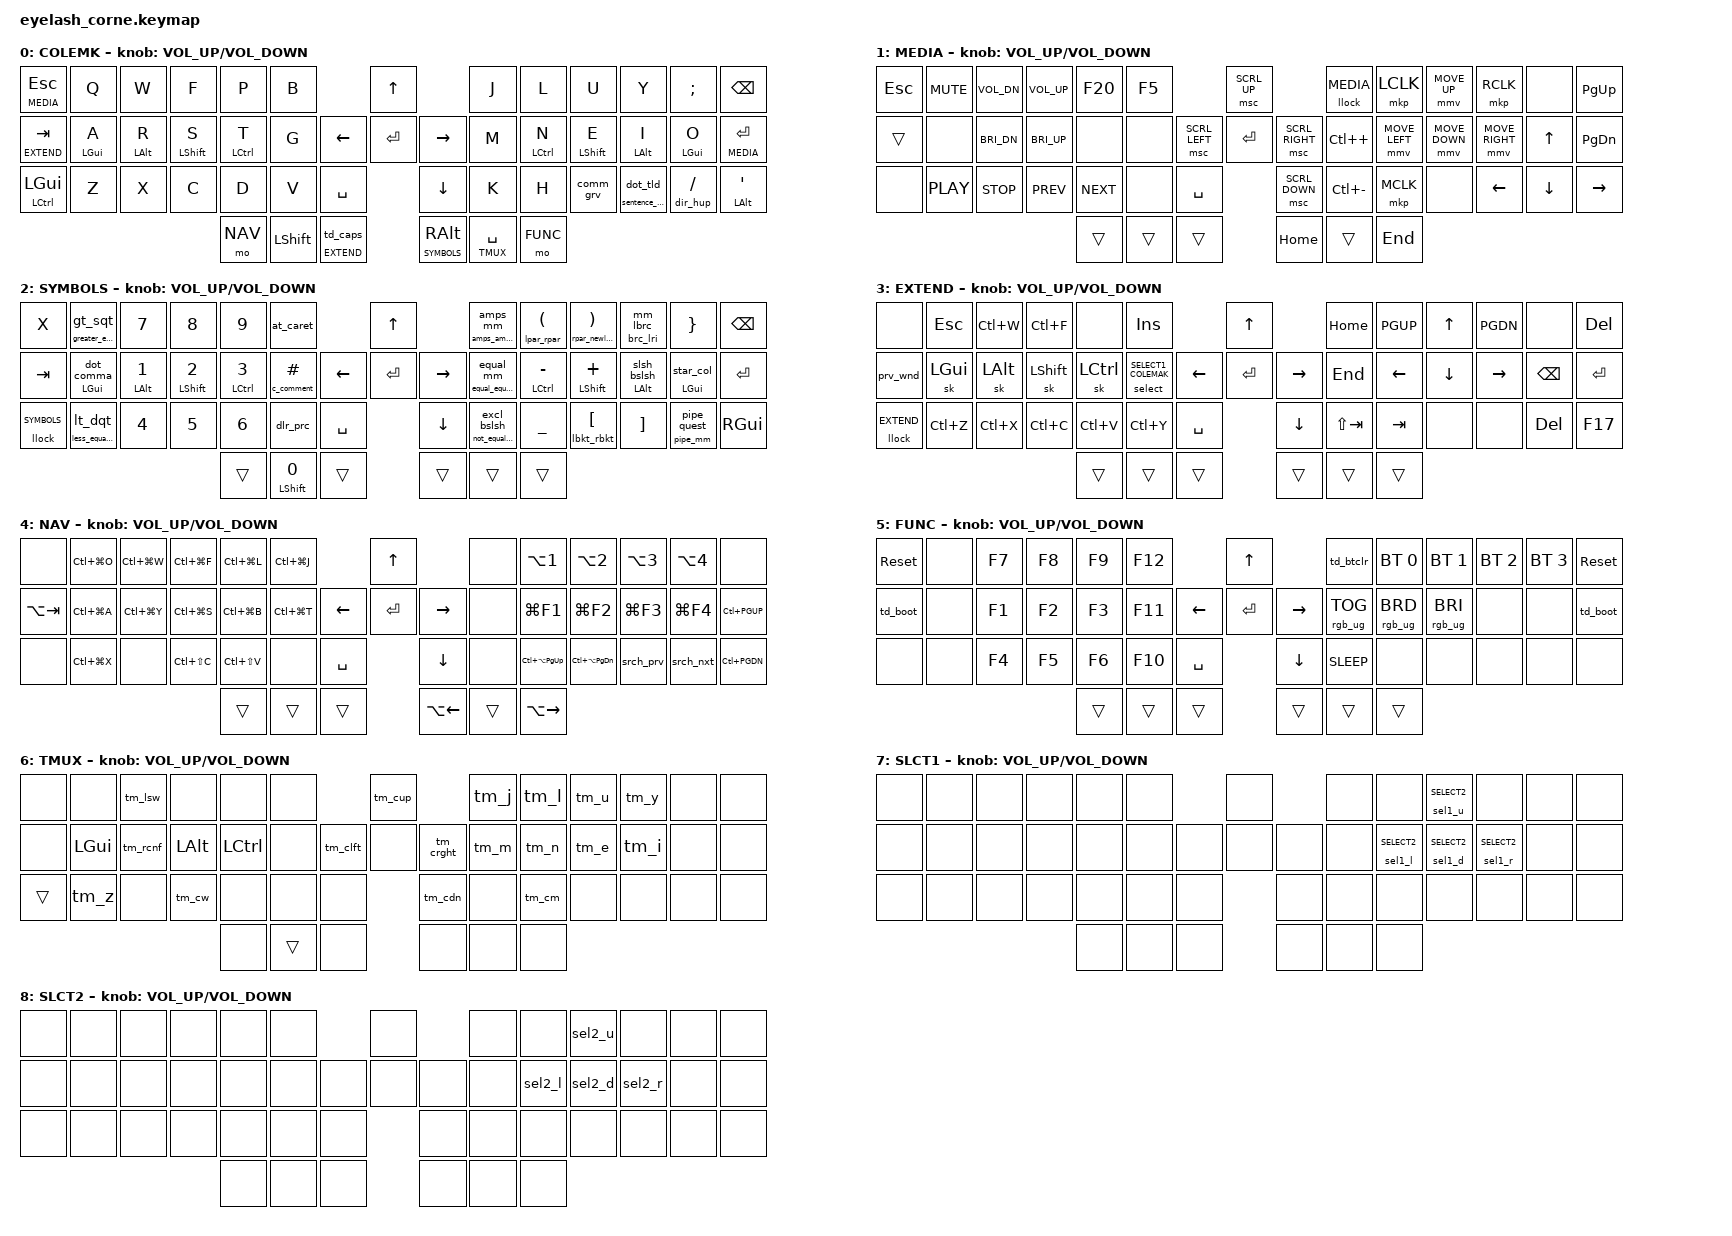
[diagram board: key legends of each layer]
#include <behaviors.dtsi>
#include <dt-bindings/zmk/bt.h>
#include <dt-bindings/zmk/keys.h>
#include <dt-bindings/zmk/mouse.h>
#include <dt-bindings/zmk/outputs.h>
#include <dt-bindings/zmk/rgb.h>

#include <input/processors.dtsi>

/*

   &mmv_input_listener {
       input-processors = <&zip_xy_scaler 2 1>;
   };

   &msc_input_listener {
       input-processors = <&zip_xy_scaler 2 1>;
   };

 */

#undef ZMK_MOUSE_DEFAULT_MOVE_VAL
#undef ZMK_MOUSE_DEFAULT_SCRL_VAL
#define ZMK_MOUSE_DEFAULT_MOVE_VAL 1200  // 600
#define ZMK_MOUSE_DEFAULT_SCRL_VAL 20    // 10

#define COLEMAK 0
#define MEDIA   1
#define SYMBOLS 2
#define EXTEND  3
#define NAV     4
#define FUNC    5
#define TMUX    6
#define SELECT1 7
#define SELECT2 8


#define KEYS_LEFT     0  1  2  3  4  5 13 14 15 16 17 18 28 29 30 31 32 33 // left-hand keys
#define KEYS_RIGHT    7  8  9 10 11 12 22 23 24 25 26 27 36 37 38 39 40 41 // right-hand keys
#define KEYS_THUMBS  42 43 44 45 46 47                                     // thumb keys
#define KEYS_5WAY     6 19 20 21 35                                        // five-way switch
#define KEY_ENCODER  34                                                    // push on rotary encoder

#define U_MS_U &mmv MOVE_UP
#define U_MS_D &mmv MOVE_DOWN
#define U_MS_L &mmv MOVE_LEFT
#define U_MS_R &mmv MOVE_RIGHT
#define U_WH_U &msc SCRL_UP
#define U_WH_D &msc SCRL_DOWN
#define U_WH_L &msc SCRL_LEFT
#define U_WH_R &msc SCRL_RIGHT

#define SELECT &select SELECT1 COLEMAK
#define SEL1_U &sel1_u SELECT2
#define SEL1_D &sel1_d SELECT2
#define SEL1_L &sel1_l SELECT2
#define SEL1_R &sel1_r SELECT2

#define EXT_CAPS &mo_caps EXTEND 0
#define SYMB_ALTGR &mo_sk SYMBOLS RALT
#define SLASH_DIRS &ht_dirs 0 SLASH
#define DOT_MACROS &ht_sentence 0 0
#define MEDIA_ESC &lt MEDIA ESC
#define MEDIA_ENT &lt MEDIA ENTER
#define EXT_TAB &lt EXTEND TAB
#define TMUX_SPC &lt TMUX SPC
#define LCTRL_LGUI &mt LCTRL LGUI
#define TAB_L &kp LC(LA(PG_UP))
#define TAB_R &kp LC(LA(PG_DN))

/* Application shortcuts */
#define APP_FFOX &kp LC(LG(W))
#define APP_FILE &kp LC(LG(F))
#define APP_CODE &kp LC(LG(L))
#define APP_JOPL &kp LC(LG(J))
#define APP_SIGN &kp LC(LG(A))
#define APP_SKYP &kp LC(LG(Y))
#define APP_SLAC &kp LC(LG(S))
#define APP_BTRM &kp LC(LG(B))
#define APP_NTRM &kp LC(LG(T))
#define APP_SCRP &kp LC(LG(X))
#define APP_TRSM &kp LC(LG(O))

/* Awkward layer lock */
/* Lock: press lock key, release mo layer, release lock */
/* Unlock: tap lock key */
#define LOCK_SYM &llock SYMBOLS
#define LOCK_EXT &llock EXTEND
#define LOCK_MED &llock MEDIA

//#include "private_macros.dtsi"

/ {
    macros {
        // Single Alt-tab to swap to the previous window instead of cycling through
        prv_wnd: previous_window {
            compatible = "zmk,behavior-macro";
            #binding-cells = <0>;
            bindings = 
                <&macro_press &kp LALT>,
                <&macro_tap &kp TAB>,
                <&macro_release &kp LALT>;
        };
        // Layer lock, sort-of
        llock: layer_lock {
            compatible = "zmk,behavior-macro-one-param";
            #binding-cells = <1>;
            wait-ms = <40>;
            tap-ms = <40>;
            bindings =
                <&macro_pause_for_release>,
                <&macro_param_1to1>,
                <&macro_tap &tog MACRO_PLACEHOLDER>;
        };
        macro_qu: macro_qu {
            compatible = "zmk,behavior-macro";
            #binding-cells = <0>;
            bindings
                = <&macro_tap &kp Q>
                , <&macro_release &kp LSHFT>
                , <&macro_tap &kp U>
                ;
        };
        parent_dir: parent_dir {
            compatible = "zmk,behavior-macro";
            #binding-cells = <0>;
            wait-ms = <0>;
            tap-ms = <1>;
            bindings = <&macro_tap &kp DOT &kp DOT &kp SLASH>;
        };
        home_dir: home_dir {
            compatible = "zmk,behavior-macro";
            #binding-cells = <0>;
            wait-ms = <0>;
            tap-ms = <1>;
            bindings = <&macro_tap &kp TILDE &kp SLASH>;
        };
        new_sentence: new_sentence {
            compatible = "zmk,behavior-macro";
            #binding-cells = <0>;
            bindings
                = <&macro_tap &kp DOT &kp SPACE>
                , <&sk LSHFT>
                ;
        };
        workspace: workspace {
            compatible = "zmk,behavior-macro";
            #binding-cells = <0>;
            wait-ms = <0>;
            tap-ms = <1>;
            bindings
                = <&macro_tap &kp TILDE &kp SLASH>
                , <&macro_tap &kp W &kp O &kp R &kp K &kp S &kp P &kp A &kp C &kp E>
                , <&macro_tap &kp SLASH>
                ;
        };
        vimcmd: vimcmd {
            compatible = "zmk,behavior-macro";
            #binding-cells = <0>;
            bindings = <&macro_tap &kp ESC &kp COLON>;
        };
        // Symbols macros
        c_comment: c_comment {
            compatible = "zmk,behavior-macro";
            #binding-cells = <0>;
            wait-ms = <0>;
            tap-ms = <1>;
            bindings
                = <&macro_tap &kp SLASH &kp STAR &kp SPACE &kp SPACE &kp STAR &kp SLASH>
                , <&macro_tap &kp LEFT &kp LEFT &kp LEFT>
                ;
        };
        greater_equal: greater_equal {
            compatible = "zmk,behavior-macro";
            #binding-cells = <0>;
            bindings = <&macro_tap &kp GT &kp EQUAL>;
        };
        greater_equal_spaces: greater_equal_spaces {
            compatible = "zmk,behavior-macro";
            #binding-cells = <0>;
            bindings = <&macro_tap  &kp SPC &kp GT &kp EQUAL &kp SPC>;
        };
        less_equal: less_equal {
            compatible = "zmk,behavior-macro";
            #binding-cells = <0>;
            bindings = <&macro_tap &kp LT &kp EQUAL>;
        };
        less_equal_spaces: less_equal_spaces {
            compatible = "zmk,behavior-macro";
            #binding-cells = <0>;
            bindings = <&macro_tap &kp SPC &kp LT &kp EQUAL &kp SPC>;
        };
        not_equal: not_equal {
            compatible = "zmk,behavior-macro";
            #binding-cells = <0>;
            bindings = <&macro_tap &kp EXCL &kp EQUAL>;
        };
        not_equal_spaces: not_equal_spaces {
            compatible = "zmk,behavior-macro";
            #binding-cells = <0>;
            bindings = <&macro_tap &kp SPC &kp EXCL &kp EQUAL &kp SPC>;
        };
        equal_spaces: equal_spaces {
            compatible = "zmk,behavior-macro";
            #binding-cells = <0>;
            bindings = 
                <&macro_release &kp LSHFT>,
                <&macro_tap &kp SPC &kp EQUAL &kp SPC>;
        };
        equal_equal: equal_equal {
            compatible = "zmk,behavior-macro";
            #binding-cells = <0>;
            bindings = <&macro_tap &kp EQUAL &kp EQUAL>;
        };
        equal_equal_spaces: equal_equal_spaces {
            compatible = "zmk,behavior-macro";
            #binding-cells = <0>;
            bindings = <&macro_tap &kp SPC &kp EQUAL &kp EQUAL &kp SPC>;
        };
        amps_spaces: amps_spaces {
            compatible = "zmk,behavior-macro";
            #binding-cells = <0>;
            bindings = <&macro_tap &kp SPC &kp AMPS &kp SPC>;
        };
        amps_amps: amps_amps {
            compatible = "zmk,behavior-macro";
            #binding-cells = <0>;
            bindings = <&macro_tap &kp AMPS &kp AMPS>;
        };
        amps_amps_spaces: amps_amps_spaces {
            compatible = "zmk,behavior-macro";
            #binding-cells = <0>;
            bindings = <&macro_tap &kp SPC &kp AMPS &kp AMPS &kp SPC>;
        };
        lpar_rpar: lpar_rpar {
            compatible = "zmk,behavior-macro";
            #binding-cells = <0>;
            bindings = <&macro_tap &kp LPAR &kp RPAR &kp LEFT>;
        };
        rpar_newline: rpar_newline {
            compatible = "zmk,behavior-macro";
            #binding-cells = <0>;
            bindings = <&macro_tap &kp RPAR &kp SEMI &kp ENTER>;
        };
        brc_lri: braces_left_right_inside {
            compatible = "zmk,behavior-macro";
            #binding-cells = <0>;
            bindings = <&macro_tap &kp LBRC &kp RBRC &kp LEFT>;
        };
        brc_lr: braces_left_right {
            compatible = "zmk,behavior-macro";
            #binding-cells = <0>;
            bindings = <&macro_tap &kp LBRC &kp RBRC>;
        };
        lbkt_rbkt: lbkt_rbkt {
            compatible = "zmk,behavior-macro";
            #binding-cells = <0>;
            bindings = <&macro_tap &kp LBKT &kp RBKT &kp LEFT>;
        };
        pipe_pipe: pipe_pipe {
            compatible = "zmk,behavior-macro";
            #binding-cells = <0>;
            bindings = <&macro_tap &kp PIPE &kp PIPE>;
        };
        pipe_pipe_spaces: pipe_pipe_spaces {
            compatible = "zmk,behavior-macro";
            #binding-cells = <0>;
            bindings = <&macro_tap &kp SPC &kp PIPE &kp PIPE &kp SPC>;
        };
        // Help macros
        help_main: help_main {
            compatible = "zmk,behavior-macro";
            #binding-cells = <0>;
            bindings
                = <&macro_tap &kp INTERNATIONAL_1>
                , <&macro_pause_for_release>
                , <&macro_tap &kp LANGUAGE_9>
                ;
        };
        help_altgr: help_altgr {
            compatible = "zmk,behavior-macro";
            #binding-cells = <0>;
            bindings
                = <&macro_tap &kp LA(INTERNATIONAL_1)>
                , <&macro_pause_for_release>
                , <&macro_tap &kp LANGUAGE_9>
                ;
        };
        help_extend: help_extend {
            compatible = "zmk,behavior-macro";
            #binding-cells = <0>;
            bindings
                = <&macro_tap &kp INTERNATIONAL_2>
                , <&macro_pause_for_release>
                , <&macro_tap &kp LANGUAGE_9>
                ;
        };
        help_nav: help_nav {
            compatible = "zmk,behavior-macro";
            #binding-cells = <0>;
            bindings
                = <&macro_tap &kp INTERNATIONAL_3>
                , <&macro_pause_for_release>
                , <&macro_tap &kp LANGUAGE_9>
                ;
        };
        help_symbols: help_symbols {
            compatible = "zmk,behavior-macro";
            #binding-cells = <0>;
            bindings
                = <&macro_tap &kp INTERNATIONAL_5>
                , <&macro_pause_for_release>
                , <&macro_tap &kp LANGUAGE_9>
                ;
        };
        help_func: help_func {
            compatible = "zmk,behavior-macro";
            #binding-cells = <0>;
            bindings
                = <&macro_tap &kp INTERNATIONAL_4>
                , <&macro_pause_for_release>
                , <&macro_tap &kp LANGUAGE_9>
                ;
        };
        help_media: help_media {
            compatible = "zmk,behavior-macro";
            #binding-cells = <0>;
            bindings
                = <&macro_tap &kp LANGUAGE_1>
                , <&macro_pause_for_release>
                , <&macro_tap &kp LANGUAGE_9>
                ;
        };

        // Select macros
        select: select_mode {
            compatible = "zmk,behavior-macro-two-param";
            #binding-cells = <2>;
            bindings =
                <&macro_param_1to1>,
                <&macro_tap &to MACRO_PLACEHOLDER>,
                <&macro_pause_for_release>,
                <&macro_param_2to1>,
                <&macro_tap &to MACRO_PLACEHOLDER>
                ;
        };
        sel1_r: select1_right {
            compatible = "zmk,behavior-macro-one-param";
            #binding-cells = <1>;
            bindings
                = <&macro_press &kp LCTL>, <&macro_tap &kp RIGHT>, <&macro_tap &kp LEFT>
                , <&macro_press &kp LSFT>, <&macro_tap &kp RIGHT>, <&macro_release &kp LSFT>, <&macro_release &kp LCTL>
                , <&macro_param_1to1>
                , <&macro_tap &to MACRO_PLACEHOLDER>
                ;
        };
        sel1_l: select1_left {
            compatible = "zmk,behavior-macro-one-param";
            #binding-cells = <1>;
            bindings
                = <&macro_press &kp LCTL>, <&macro_tap &kp LEFT>, <&macro_tap &kp RIGHT>
                , <&macro_press &kp LSFT>, <&macro_tap &kp LEFT>, <&macro_release &kp LSFT>, <&macro_release &kp LCTL>
                , <&macro_param_1to1>
                , <&macro_tap &to MACRO_PLACEHOLDER>
                ;
        };
        sel1_u: select1_up {
            compatible = "zmk,behavior-macro-one-param";
            #binding-cells = <1>;
            bindings
                = <&macro_tap &kp END>, <&macro_tap &kp RIGHT>
                , <&macro_press &kp LSFT>, <&macro_tap &kp UP>, <&macro_release &kp LSFT>
                , <&macro_param_1to1>
                , <&macro_tap &to MACRO_PLACEHOLDER>
                ;
        };
        sel1_d: select1_down {
            compatible = "zmk,behavior-macro-one-param";
            #binding-cells = <1>;
            bindings
                = <&macro_tap &kp HOME>, <&macro_tap &kp HOME>
                , <&macro_press &kp LSFT>, <&macro_tap &kp DOWN>, <&macro_release &kp LSFT>
                , <&macro_param_1to1>
                , <&macro_tap &to MACRO_PLACEHOLDER>
                ;
        };
        sel2_r: select2_right {
            compatible = "zmk,behavior-macro";
            #binding-cells = <0>;
            bindings
                = <&macro_press &kp LCTL>, <&macro_press &kp LSFT>, <&macro_tap &kp RIGHT>, <&macro_release &kp LSFT>, <&macro_release &kp LCTL>
                ;
        };
        sel2_l: select2_left {
            compatible = "zmk,behavior-macro";
            #binding-cells = <0>;
            bindings
                = <&macro_press &kp LCTL>, <&macro_press &kp LSFT>, <&macro_tap &kp LEFT>, <&macro_release &kp LSFT>, <&macro_release &kp LCTL>
                ;
        };
        sel2_u: select2_up {
            compatible = "zmk,behavior-macro";
            #binding-cells = <0>;
            bindings
                = <&macro_press &kp LSFT>, <&macro_tap &kp UP>, <&macro_release &kp LSFT>
                ;
        };
        sel2_d: select2_down {
            compatible = "zmk,behavior-macro";
            #binding-cells = <0>;
            bindings
                = <&macro_press &kp LSFT>, <&macro_tap &kp DOWN>, <&macro_release &kp LSFT>
                ;
        };

        // TMUX macros
        tm_n: tmux_n {
            compatible = "zmk,behavior-macro";
            #binding-cells = <0>;
            bindings
                = <&macro_press &kp LCTL>, <&macro_tap &kp A>, <&macro_release &kp LCTL>
                , <&macro_tap &kp N>
                ;
        };
        tm_i: tmux_i {
            compatible = "zmk,behavior-macro";
            #binding-cells = <0>;
            bindings
                = <&macro_press &kp LCTL>, <&macro_tap &kp A>, <&macro_release &kp LCTL>
                , <&macro_tap &kp I>
                ;
        };
        tm_u: tmux_u {
            compatible = "zmk,behavior-macro";
            #binding-cells = <0>;
            bindings
                = <&macro_press &kp LCTL>, <&macro_tap &kp A>, <&macro_release &kp LCTL>
                , <&macro_tap &kp U>
                ;
        };
        tm_e: tmux_e {
            compatible = "zmk,behavior-macro";
            #binding-cells = <0>;
            bindings
                = <&macro_press &kp LCTL>, <&macro_tap &kp A>, <&macro_release &kp LCTL>
                , <&macro_tap &kp E>
                ;
        };
        tm_l: tmux_l {
            compatible = "zmk,behavior-macro";
            #binding-cells = <0>;
            bindings
                = <&macro_press &kp LCTL>, <&macro_tap &kp A>, <&macro_release &kp LCTL>
                , <&macro_tap &kp L>
                ;
        };
        tm_y: tmux_y {
            compatible = "zmk,behavior-macro";
            #binding-cells = <0>;
            bindings
                = <&macro_press &kp LCTL>, <&macro_tap &kp A>, <&macro_release &kp LCTL>
                , <&macro_tap &kp Y>
                ;
        };
        tm_j: tmux_j {
            compatible = "zmk,behavior-macro";
            #binding-cells = <0>;
            bindings
                = <&macro_press &kp LCTL>, <&macro_tap &kp A>, <&macro_release &kp LCTL>
                , <&macro_tap &kp J>
                ;
        };
        tm_m: tmux_m {
            compatible = "zmk,behavior-macro";
            #binding-cells = <0>;
            bindings
                = <&macro_press &kp LCTL>, <&macro_tap &kp A>, <&macro_release &kp LCTL>
                , <&macro_tap &kp M>
                ;
        };
        tm_z: tmux_z {
            compatible = "zmk,behavior-macro";
            #binding-cells = <0>;
            bindings
                = <&macro_press &kp LCTL>, <&macro_tap &kp A>, <&macro_release &kp LCTL>
                , <&macro_tap &kp Z>
                ;
        };
        tm_cm: tmux_copy_mode {
            compatible = "zmk,behavior-macro";
            #binding-cells = <0>;
            bindings
                = <&macro_press &kp LCTL>, <&macro_tap &kp A>, <&macro_release &kp LCTL>
                , <&macro_tap &kp LBKT>
                ;
        };
        tm_cw: tmux_create_window {
            compatible = "zmk,behavior-macro";
            #binding-cells = <0>;
            bindings
                = <&macro_press &kp LCTL>, <&macro_tap &kp A>, <&macro_release &kp LCTL>
                , <&macro_tap &kp C>
                ;
        };
        tm_lsw: tmux_list_windows {
            compatible = "zmk,behavior-macro";
            #binding-cells = <0>;
            bindings
                = <&macro_press &kp LCTL>, <&macro_tap &kp A>, <&macro_release &kp LCTL>
                , <&macro_tap &kp W>
                ;
        };
        tm_rcnf: tmux_reload_config {
            compatible = "zmk,behavior-macro";
            #binding-cells = <0>;
            bindings
                = <&macro_press &kp LCTL>, <&macro_tap &kp A>, <&macro_release &kp LCTL>
                , <&macro_tap &kp R>
                ;
        };
        tm_clft: tmux_ctrl_left {
            compatible = "zmk,behavior-macro";
            #binding-cells = <0>;
            bindings
                = <&macro_press &kp LCTL>, <&macro_tap &kp A>
                , <&macro_tap &kp LEFT>
                , <&macro_release &kp LCTL>
                ;
        };
        tm_crght: tmux_ctrl_right {
            compatible = "zmk,behavior-macro";
            #binding-cells = <0>;
            bindings
                = <&macro_press &kp LCTL>, <&macro_tap &kp A>
                , <&macro_tap &kp RIGHT>
                , <&macro_release &kp LCTL>
                ;
        };
        tm_cup: tmux_ctrl_up {
            compatible = "zmk,behavior-macro";
            #binding-cells = <0>;
            bindings
                = <&macro_press &kp LCTL>, <&macro_tap &kp A>
                , <&macro_tap &kp UP>
                , <&macro_release &kp LCTL>
                ;
        };
        tm_cdn: tmux_ctrl_down {
            compatible = "zmk,behavior-macro";
            #binding-cells = <0>;
            bindings
                = <&macro_press &kp LCTL>, <&macro_tap &kp A>
                , <&macro_tap &kp DOWN>
                , <&macro_release &kp LCTL>
                ;
        };

        // Leader key macros
        lk_ccomment: leader_c_comment {
            compatible = "zmk,behavior-macro";
            #binding-cells = <0>;
            wait-ms = <0>;
            tap-ms = <1>;
            bindings
                = <&macro_tap &kp SLASH &kp STAR &kp SPC &kp SPC &kp STAR &kp SLASH>
                , <&macro_tap &kp LEFT &kp LEFT &kp LEFT>
                ;
        };
        lk_cinclude: leader_c_include {
            compatible = "zmk,behavior-macro";
            #binding-cells = <0>;
            wait-ms = <0>;
            tap-ms = <1>;
            bindings
                = <&macro_tap &kp HASH &kp I &kp N &kp C &kp L &kp U &kp D &kp E &kp SPC>
                ;
        };
        lk_cinclude_qts: leader_c_include_quotes {
            compatible = "zmk,behavior-macro";
            #binding-cells = <0>;
            wait-ms = <0>;
            tap-ms = <1>;
            bindings
                = <&macro_tap &kp HASH &kp I &kp N &kp C &kp L &kp U &kp D &kp E &kp SPC>
                , <&macro_tap &kp DQT &kp DQT &kp LEFT>
                ;
        };
        lk_cdefine: leader_c_define {
            compatible = "zmk,behavior-macro";
            #binding-cells = <0>;
            wait-ms = <0>;
            tap-ms = <1>;
            bindings
                = <&macro_tap &kp HASH &kp D &kp E &kp F &kp I &kp N &kp E &kp SPC>
                ;
        };
        lk_cstring: leader_c_string {
            compatible = "zmk,behavior-macro";
            #binding-cells = <0>;
            wait-ms = <0>;
            tap-ms = <1>;
            bindings
                = <&macro_tap &kp S &kp T &kp D &kp COLON &kp COLON &kp S &kp T &kp R &kp I &kp N &kp G>
                ;
        };
        lk_cvector: leader_c_vector {
            compatible = "zmk,behavior-macro";
            #binding-cells = <0>;
            wait-ms = <0>;
            tap-ms = <1>;
            bindings
                = <&macro_tap &kp S &kp T &kp D &kp COLON &kp COLON &kp V &kp E &kp C &kp T &kp O &kp R>
                ;
        };

        
    };

    behaviors {
        leader: leader {
            compatible = "zmk,behavior-leader-key";
            #binding-cells = <0>;
            l_ccomment { sequence = <C C>; bindings = <&lk_ccomment>; };
            l_cinclude { sequence = <C I>; bindings = <&lk_cinclude>; };
            l_cincludeqts { sequence = <C I I>; bindings = <&lk_cinclude_qts>; };
            l_cdefine { sequence = <C D>; bindings = <&lk_cdefine>; };
            l_cstring { sequence = <C S>; bindings = <&lk_cstring>; };
            l_cvector { sequence = <C V>; bindings = <&lk_cvector>; };
//            l_priv_cemail { sequence = <X X>; bindings = <&priv_cemail>; };
//            l_priv_comb { sequence = <X C>; bindings = <&priv_comp>; };
        };

        hrl: home_row_left {
            compatible = "zmk,behavior-hold-tap";
            #binding-cells = <2>;
            flavor = "balanced";
            tapping-term-ms = <280>;
            quick-tap-ms = <175>;
            require-prior-idle-ms = <150>;
            bindings = <&kp>, <&kp>;
            hold-trigger-key-positions = <KEYS_RIGHT KEYS_THUMBS KEYS_5WAY>;
            hold-trigger-on-release;             // delay positional check until key-release
        };

        hrr: home_row_right {
            compatible = "zmk,behavior-hold-tap";
            #binding-cells = <2>;
            flavor = "balanced";
            tapping-term-ms = <280>;
            quick-tap-ms = <175>;
            require-prior-idle-ms = <150>;
            bindings = <&kp>, <&kp>;
            hold-trigger-key-positions = <KEYS_LEFT KEYS_THUMBS KEY_ENCODER>;
            hold-trigger-on-release;             // delay positional check until key-release
        };

        mo_capsword: mo_capsword {
            compatible = "zmk,behavior-hold-tap";
            #binding-cells = <2>;
            flavor = "hold-preferred";
            tapping-term-ms = <200>;
            bindings = <&mo>, <&caps_word>;
        };

        mo_caps: mo_caps {
            compatible = "zmk,behavior-hold-tap";
            #binding-cells = <2>;
            flavor = "hold-preferred";
            tapping-term-ms = <200>;
            bindings = <&mo>, <&td_caps>;
        };

        mo_sk: mo_sticky {
            compatible = "zmk,behavior-hold-tap";
            #binding-cells = <2>;
            flavor = "balanced";
            tapping-term-ms = <280>;
            bindings = <&mo>, <&sk>;
        };

        ht_dirs: ht_dirs {
            compatible = "zmk,behavior-hold-tap";
            #binding-cells = <2>;
            flavor = "balanced";
            tapping-term-ms = <280>;
            bindings = <&dir_hup>, <&kp>;
        };

        ht_sentence: ht_sentence {
            compatible = "zmk,behavior-hold-tap";
            #binding-cells = <2>;
            flavor = "balanced";
            tapping-term-ms = <280>;
            bindings = <&sentence_wksp>, <&dot_tld>;
        };

        td_boot: td_bootloader {
            compatible = "zmk,behavior-tap-dance";
            display-name = "BOOT";
            #binding-cells = <0>;
            bindings = <&none>, <&bootloader>;
        };

        td_btclr: td_bluetooth_clear {
            compatible = "zmk,behavior-tap-dance";
            #binding-cells = <0>;
            bindings = <&none>, <&bt BT_CLR_ALL>;
        };

        td_extcaps: tap_dance_ext_caps {
            compatible = "zmk,behavior-tap-dance";
            #binding-cells = <0>;
            tapping-term-ms = <200>;
            bindings = <&mo_capsword EXTEND 0>, <&kp CAPSLOCK>;
        };

        td_caps: tap_dance_caps {
            compatible = "zmk,behavior-tap-dance";
            #binding-cells = <0>;
            tapping-term-ms = <300>;
            bindings = <&caps_word>, <&kp CAPSLOCK>;
        };

        comm_grv: comma_grave {
            compatible = "zmk,behavior-mod-morph";
            #binding-cells = <0>;
            bindings = <&kp COMMA>, <&kp GRAVE>;
            mods = <(MOD_LSFT|MOD_RSFT)>;
        };

        dot_tld: dot_tilde {
            compatible = "zmk,behavior-mod-morph";
            #binding-cells = <0>;
            bindings = <&kp DOT>, <&kp TILDE>;
            mods = <(MOD_LSFT|MOD_RSFT)>;
        };
        at_caret: at_caret {
            compatible = "zmk,behavior-mod-morph";
            #binding-cells = <0>;
            bindings = <&kp AT>, <&kp CARET>;
            mods = <(MOD_LSFT|MOD_RSFT)>;
        };
        dlr_prc: dollar_percent {
            compatible = "zmk,behavior-mod-morph";
            #binding-cells = <0>;
            bindings = <&kp DOLLAR>, <&kp PERCENT>;
            mods = <(MOD_LSFT|MOD_RSFT)>;
        };
        srch_prv: search_prev {
            compatible = "zmk,behavior-mod-morph";
            #binding-cells = <0>;
            bindings = <&kp LS(F3)>, <&kp LC(F8)>;
            mods = <(MOD_LSFT|MOD_RSFT)>;
        };
        srch_nxt: search_next {
            compatible = "zmk,behavior-mod-morph";
            #binding-cells = <0>;
            bindings = <&kp F3>, <&kp F8>;
            mods = <(MOD_LSFT|MOD_RSFT)>;
        };
        dir_hup: dir_home_up {
            compatible = "zmk,behavior-mod-morph";
            #binding-cells = <0>;
            bindings = <&home_dir>, <&parent_dir>;
            mods = <(MOD_LSFT|MOD_RSFT)>;
        };
        sentence_wksp: newsentence_workspace {
            compatible = "zmk,behavior-mod-morph";
            #binding-cells = <0>;
            bindings = <&new_sentence>, <&workspace>;
            mods = <(MOD_LSFT|MOD_RSFT)>;
        };
//        wksp_suppress: workspace_suppress_shift {
//            compatible = "zmk,behavior-mod-morph";
//            #binding-cells = <0>;
//            bindings = <&kp X>, <&workspace>;
//            mods = <(MOD_LSFT|MOD_RSFT)>;
//        };

        // help main/altgr
        help_main_altgr: help_main_altgr {
            compatible = "zmk,behavior-mod-morph";
            #binding-cells = <0>;
            bindings = <&help_main>, <&help_altgr>;
            mods = <(MOD_RALT)>;
        };
        // Symbols mod-morphs and hold-taps
        ht_gt: ht_gt {
            compatible = "zmk,behavior-hold-tap";
            #binding-cells = <2>;
            flavor = "balanced";
            tapping-term-ms = <280>;
            bindings = <&greater_equal_mm>, <&gt_sqt>;
        };
        gt_sqt: greaterthan_singlequote {
            compatible = "zmk,behavior-mod-morph";
            #binding-cells = <0>;
            bindings = <&kp GT>, <&kp SQT>;
            mods = <(MOD_LSFT|MOD_RSFT)>;
        };
        greater_equal_mm: greater_equal_mm {
            compatible = "zmk,behavior-mod-morph";
            #binding-cells = <0>;
            bindings = <&greater_equal>, <&greater_equal_spaces>;
            mods = <(MOD_LSFT|MOD_RSFT)>;
        };
        ht_lt: ht_lt {
            compatible = "zmk,behavior-hold-tap";
            #binding-cells = <2>;
            flavor = "balanced";
            tapping-term-ms = <280>;
            bindings = <&less_equal_mm>, <&lt_dqt>;
        };
        lt_dqt: lessthan_doublequote {
            compatible = "zmk,behavior-mod-morph";
            #binding-cells = <0>;
            bindings = <&kp LT>, <&kp DQT>;
            mods = <(MOD_LSFT|MOD_RSFT)>;
        };
        less_equal_mm: less_equal_mm {
            compatible = "zmk,behavior-mod-morph";
            #binding-cells = <0>;
            bindings = <&less_equal>, <&less_equal_spaces>;
            mods = <(MOD_LSFT|MOD_RSFT)>;
        };
        ht_pipe: ht_pipe {
            compatible = "zmk,behavior-hold-tap";
            #binding-cells = <2>;
            flavor = "balanced";
            tapping-term-ms = <280>;
            bindings = <&pipe_mm>, <&pipe_quest>;
        };
        pipe_mm: pipe_mm {
            compatible = "zmk,behavior-mod-morph";
            #binding-cells = <0>;
            bindings = <&pipe_pipe>, <&pipe_pipe_spaces>;
            mods = <(MOD_LSFT|MOD_RSFT)>;
        };
        pipe_quest: pipe_quest {
            compatible = "zmk,behavior-mod-morph";
            #binding-cells = <0>;
            bindings = <&kp PIPE>, <&kp QUESTION>;
            mods = <(MOD_LSFT|MOD_RSFT)>;
        };
        ht_equl: ht_equal {
            compatible = "zmk,behavior-hold-tap";
            #binding-cells = <2>;
            flavor = "balanced";
            tapping-term-ms = <280>;
            bindings = <&equal_equal_mm>, <&equal_mm>;
        };
        equal_mm: equal_mm {
            compatible = "zmk,behavior-mod-morph";
            #binding-cells = <0>;
            bindings = <&kp EQUAL>, <&equal_spaces>;
            mods = <(MOD_LSFT|MOD_RSFT)>;
        };
        equal_equal_mm: equal_equal_morph{
            compatible = "zmk,behavior-mod-morph";
            #binding-cells = <0>;
            bindings = <&equal_equal>, <&equal_equal_spaces>;
            mods = <(MOD_LSFT|MOD_RSFT)>;
        };
        ht_amps: ht_amps {
            compatible = "zmk,behavior-hold-tap";
            #binding-cells = <2>;
            flavor = "balanced";
            tapping-term-ms = <280>;
            bindings = <&amps_amps_mm>, <&amps_mm>;
        };
        amps_mm: amps_mm {
            compatible = "zmk,behavior-mod-morph";
            #binding-cells = <0>;
            bindings = <&kp AMPS>, <&amps_spaces>;
            mods = <(MOD_LSFT|MOD_RSFT)>;
        };
        amps_amps_mm: amps_amps_morph{
            compatible = "zmk,behavior-mod-morph";
            #binding-cells = <0>;
            bindings = <&amps_amps>, <&amps_amps_spaces>;
            mods = <(MOD_LSFT|MOD_RSFT)>;
        };
        ht_excl: ht_exclam {
            compatible = "zmk,behavior-hold-tap";
            #binding-cells = <2>;
            flavor = "balanced";
            tapping-term-ms = <280>;
            bindings = <&not_equal_mm>, <&excl_bslsh>;
        };
        excl_bslsh: exclam_bslash {
            compatible = "zmk,behavior-mod-morph";
            #binding-cells = <0>;
            bindings = <&kp EXCL>, <&kp BACKSLASH>;
            mods = <(MOD_LSFT|MOD_RSFT)>;
        };
        not_equal_mm: not_equal_morph{
            compatible = "zmk,behavior-mod-morph";
            #binding-cells = <0>;
            bindings = <&not_equal>, <&not_equal_spaces>;
            mods = <(MOD_LSFT|MOD_RSFT)>;
        };
        ht_lpar: ht_lpar {
            compatible = "zmk,behavior-hold-tap";
            #binding-cells = <2>;
            flavor = "balanced";
            tapping-term-ms = <280>;
            bindings = <&lpar_rpar>, <&kp>;
        };
        ht_rpar: ht_rpar {
            compatible = "zmk,behavior-hold-tap";
            #binding-cells = <2>;
            flavor = "balanced";
            tapping-term-ms = <280>;
            bindings = <&rpar_newline>, <&kp>;
        };
        ht_lbrc: ht_lbrc {
            compatible = "zmk,behavior-hold-tap";
            #binding-cells = <2>;
            flavor = "balanced";
            tapping-term-ms = <280>;
            bindings = <&brc_lri>, <&mm_lbrc>;
        };
        mm_lbrc: mm_lbrc {
            compatible = "zmk,behavior-mod-morph";
            #binding-cells = <0>;
            bindings = <&td_brc>, <&kp RBRC>;
            mods = <(MOD_LSFT|MOD_RSFT)>;
        };
        td_brc: tap_dance_braces {
            compatible = "zmk,behavior-tap-dance";
            #binding-cells = <0>;
            tapping-term-ms = <250>;
            bindings = <&kp LBRC>, <&brc_lr>;
        };
        ht_lbkt: ht_lbkt {
            compatible = "zmk,behavior-hold-tap";
            #binding-cells = <2>;
            flavor = "balanced";
            tapping-term-ms = <280>;
            bindings = <&lbkt_rbkt>, <&kp>;
        };
        // Mod-morphs on HRM on Symbols
        hrl_dot: home_row_left_dot {
            compatible = "zmk,behavior-hold-tap";
            #binding-cells = <2>;
            flavor = "balanced";
            tapping-term-ms = <280>;
            quick-tap-ms = <175>;
            require-prior-idle-ms = <150>;
            bindings = <&kp>, <&dot_comma>;
            hold-trigger-key-positions = <KEYS_RIGHT KEYS_THUMBS KEYS_5WAY>;
            hold-trigger-on-release;             // delay positional check until key-release
        };
        ht_hash: ht_hash {
            compatible = "zmk,behavior-hold-tap";
            #binding-cells = <2>;
            flavor = "balanced";
            tapping-term-ms = <280>;
            bindings = <&c_comment>, <&kp>;
        };
        hrr_slsh: home_row_right_slash {
            compatible = "zmk,behavior-hold-tap";
            #binding-cells = <2>;
            flavor = "balanced";
            tapping-term-ms = <280>;
            quick-tap-ms = <175>;
            require-prior-idle-ms = <150>;
            bindings = <&kp>, <&slsh_bslsh>;
            hold-trigger-key-positions = <KEYS_LEFT KEYS_THUMBS KEY_ENCODER>;
            hold-trigger-on-release;             // delay positional check until key-release
        };
        hrr_star: home_row_right_star {
            compatible = "zmk,behavior-hold-tap";
            #binding-cells = <2>;
            flavor = "balanced";
            tapping-term-ms = <280>;
            quick-tap-ms = <175>;
            require-prior-idle-ms = <150>;
            bindings = <&kp>, <&star_col>;
            hold-trigger-key-positions = <KEYS_LEFT KEYS_THUMBS KEY_ENCODER>;
            hold-trigger-on-release;             // delay positional check until key-release
        };
        dot_comma: dot_comma {
            compatible = "zmk,behavior-mod-morph";
            #binding-cells = <0>;
            bindings = <&kp DOT>, <&kp COMMA>;
            mods = <(MOD_LSFT|MOD_RSFT)>;
        };
        slsh_bslsh: slash_bslash {
            compatible = "zmk,behavior-mod-morph";
            #binding-cells = <0>;
            bindings = <&kp SLASH>, <&kp BACKSLASH>;
            mods = <(MOD_LSFT|MOD_RSFT)>;
        };
        star_col: star_colon {
            compatible = "zmk,behavior-mod-morph";
            #binding-cells = <0>;
            bindings = <&kp STAR>, <&kp COLON>;
            mods = <(MOD_LSFT|MOD_RSFT)>;
        };
    };

    rgb_encoder: rgb_encoder {
        compatible = "zmk,behavior-sensor-rotate";
        #sensor-binding-cells = <0>;
        bindings = <&rgb_ug RGB_BRI>, <&rgb_ug RGB_BRD>;
    };

    scroll_encoder: scroll_encoder {
        compatible = "zmk,behavior-sensor-rotate";
        #sensor-binding-cells = <0>;
        bindings = <&msc SCRL_DOWN>, <&msc SCRL_UP>;
        tap-ms = <30>;
    };


    combos {
        compatible = "zmk,combos";
        combo_leader {
            timeout-ms = <50>;
            key-positions = <37 38>;
            bindings = <&leader>;
            layers = <COLEMAK>;
        };
        combo_qu {
            timeout-ms = <50>;
            key-positions = <14 29>;
            bindings = <&macro_qu>;
            layers = <COLEMAK>;
        };
        combo_under {
            timeout-ms = <50>;
            key-positions = <23 37>;
            bindings = <&kp UNDER>;
            layers = <COLEMAK>;
        };
        combo_minus {
            timeout-ms = <50>;
            key-positions = <8 23>;
            bindings = <&kp MINUS>;
            layers = <COLEMAK>;
        };
        combo_sqt {
            timeout-ms = <50>;
            key-positions = <9 24>;
            bindings = <&kp SQT>;
            layers = <COLEMAK>;
        };
        combo_dqt {
            timeout-ms = <50>;
            key-positions = <10 25>;
            bindings = <&kp DQT>;
            layers = <COLEMAK>;
        };
        combo_colon {
            timeout-ms = <50>;
            key-positions = <17 32>;
            bindings = <&kp COLON>;
            layers = <COLEMAK>;
        };
        combo_semi {
            timeout-ms = <50>;
            key-positions = <16 31>;
            bindings = <&kp SEMI>;
            layers = <COLEMAK>;
        };
        combo_excl {
            timeout-ms = <50>;
            key-positions = <26 40>;
            bindings = <&kp EXCL>;
            layers = <COLEMAK>;
        };
        combo_backslash {
            timeout-ms = <50>;
            key-positions = <25 39>;
            bindings = <&kp BACKSLASH>;
            layers = <SYMBOLS>;
        };
        combo_save {
            timeout-ms = <50>;
            key-positions = <2 3>;
            bindings = <&kp LC(S)>;
            layers = <COLEMAK>;
        };
        combo_copy {
            timeout-ms = <50>;
            key-positions = <30 31>;
            bindings = <&kp LC(C)>;
            //layers = <COLEMAK>;
        };
        combo_paste {
            timeout-ms = <50>;
            key-positions = <31 32>;
            bindings = <&kp LC(V)>;
            //layers = <COLEMAK>;
        };
        combo_cut {
            timeout-ms = <50>;
            key-positions = <30 32>;
            bindings = <&kp LC(X)>;
            //layers = <COLEMAK>;
        };
        combo_undo {
            timeout-ms = <50>;
            key-positions = <29 30>;
            bindings = <&kp LC(Z)>;
            //layers = <COLEMAK>;
        };
        combo_redo {
            timeout-ms = <50>;
            key-positions = <32 33>;
            bindings = <&kp LC(Y)>;
            //layers = <COLEMAK>;
        };
        combo_vimcmd {
            timeout-ms = <50>;
            key-positions = <8 9>;
            bindings = <&vimcmd>;
            layers = <COLEMAK>;
        };
        combo_media {
            timeout-ms = <50>;
            slow-release;
            key-positions = <0 1>;
            bindings = <&tog MEDIA>;
            layers = <COLEMAK MEDIA>;
        };
        // Help combos
        combo_help_main_altgr {
            timeout-ms = <50>;
            slow-release;
            key-positions = <32 37>;
            bindings = <&help_main_altgr>;
            layers = <COLEMAK>;
        };
        combo_help_extend {
            timeout-ms = <50>;
            slow-release;
            key-positions = <32 37>;
            bindings = <&help_extend>;
            layers = <EXTEND>;
        };
        combo_help_nav {
            timeout-ms = <50>;
            slow-release;
            key-positions = <32 37>;
            bindings = <&help_nav>;
            layers = <NAV>;
        };
        combo_help_symbols {
            timeout-ms = <50>;
            slow-release;
            key-positions = <32 37>;
            bindings = <&help_symbols>;
            layers = <SYMBOLS>;
        };
        combo_help_func {
            timeout-ms = <50>;
            slow-release;
            key-positions = <32 37>;
            bindings = <&help_func>;
            layers = <FUNC>;
        };
        combo_help_media {
            timeout-ms = <50>;
            slow-release;
            key-positions = <32 37>;
            bindings = <&help_media>;
            layers = <MEDIA>;
        };
    };

    keymap {
        compatible = "zmk,keymap";

        default_layer {
            display-name = "COLEMK";

            // ┌──────┬─────┬─────┬─────┬─────┬─────┐                ┏━━━━━┓         ┌─────┬─────┬─────┬─────┬─────┬──────┐
            // │MD/ESC│  Q  │  W  │  F  │  P  │  B  │                ┃  ↑  ┃         │  J  │  L  │  U  │  Y  │  ;  │ BKSP │
            // ├──────┼─────┼─────┼─────┼─────┼─────┤          ┏━━━━━┃━━━━━┃━━━━━┓   ├─────┼─────┼─────┼─────┼─────┼──────┤
            // │EX/TAB│  A  │  R  │  S  │  T  │  G  │          ┃  ←  ┃enter┃  →  ┃   │  M  │  N  │  E  │  I  │  O  │MD/ENT│
            // ├──────┼─────┼─────┼─────┼─────┼─────┤ ┏━━━━┓   ┗━━━━━┃━━━━━┃━━━━━┛   ├─────┼─────┼─────┼─────┼─────┼──────┤
            // │CTL/SP│  Z  │  X  │  C  │  D  │  V  │ ┃MUTE┃         ┃  ↓  ┃         │  K  │  H  │ , ` │ . ~ │  /  │Alt/' │
            // └──────┴─────┴─────┴───┬─┴───┬─┴───┬─┴─┺━┯━━┛         ┗━━━━━┛     ┌───┴─┬───┴─┬───┴─┬───┴─────┴─────┴──────┘
            //                        │ NAV │ SFT │ EXT │                        │ SYM │ SPC │ Fn  │
            //                        └─────┴─────┴─────┘                        └─────┴─────┴─────┘

            bindings = <
MEDIA_ESC  &kp Q        &kp W        &kp F         &kp P         &kp B                           &kp UP                 &kp J        &kp L         &kp U        &kp Y        &kp SEMI    &kp BSPC
EXT_TAB    &hrl LGUI A  &hrl LALT R  &hrl LSHFT S  &hrl LCTRL T  &kp G                 &kp LEFT  &kp ENTER  &kp RIGHT   &kp M        &hrr LCTRL N  &hrr LSHFT E &hrr LALT I  &hrr LGUI O MEDIA_ENT
LCTRL_LGUI &kp Z        &kp X        &kp C         &kp D         &kp V      &kp SPACE            &kp DOWN               &kp K        &kp H         &comm_grv    DOT_MACROS   SLASH_DIRS  &mt LALT SQT
                                                  &mo NAV  &kp LSHIFT  EXT_CAPS                                 SYMB_ALTGR  TMUX_SPC  &mo FUNC
            >;
            sensor-bindings = <&inc_dec_kp C_VOLUME_UP C_VOLUME_DOWN>;
        };

        media_layer {
            display-name = "MEDIA";

            // ┌──────┬─────┬─────┬─────┬─────┬─────┐                ┏━━━━━┓         ┌─────┬─────┬─────┬─────┬─────┬──────┐
            // │ ESC  │MUTE │VOL- │VOL+ │ MIC │ F5  │                ┃ s↑  ┃         │     │ mL  │ m↑  │ mR  │     │ PGUP │
            // ├──────┼─────┼─────┼─────┼─────┼─────┤          ┏━━━━━┃━━━━━┃━━━━━┓   ├─────┼─────┼─────┼─────┼─────┼──────┤
            // │      │     │BRI- │BRI+ │DISP │     │          ┃ s←  ┃enter┃ s→  ┃   │ZOOM+│ m←  │ m↓  │ m→  │  ↑  │ PGDN │
            // ├──────┼─────┼─────┼─────┼─────┼─────┤ ┏━━━━┓   ┗━━━━━┃━━━━━┃━━━━━┛   ├─────┼─────┼─────┼─────┼─────┼──────┤
            // │      │PLAY │STOP │PREV │NEXT │     │ ┃MUTE┃         ┃ s↓  ┃         │ZOOM-│ mM  │     │  ←  │  ↓  │  →   │
            // └──────┴─────┴─────┴───┬─┴───┬─┴───┬─┴─┺━┯━━┛         ┗━━━━━┛     ┌───┴─┬───┴─┬───┴─┬───┴─────┴─────┴──────┘
            //                        │     │     │     │                        │HOME │     │ END │I
            //                        └─────┴─────┴─────┘                        └─────┴─────┴─────┘

            bindings = <
&kp ESC    &kp C_MUTE   &kp C_VOL_DN &kp C_VOL_UP  &kp F20       &kp F5                        U_WH_U             LOCK_MED      &mkp LCLK    U_MS_U      &mkp RCLK    &none       &kp PG_UP
&trans     &none        &kp C_BRI_DN &kp C_BRI_UP  &none         &none                 U_WH_L  &kp ENTER  U_WH_R  &kp LC(PLUS)  U_MS_L       U_MS_D      U_MS_R       &kp UP      &kp PG_DN
&none      &kp C_PLAY   &kp C_STOP   &kp C_PREV    &kp C_NEXT    &none      &kp SPACE          U_WH_D             &kp LC(MINUS) &mkp MCLK    &none       &kp LEFT     &kp DOWN    &kp RIGHT
                                                  &trans   &trans  &trans                                     &kp HOME   &trans  &kp END
            >;
            sensor-bindings = <&inc_dec_kp C_VOLUME_UP C_VOLUME_DOWN>;
        };

        symbols_layer {
            display-name = "SYMBOLS";

            // ┌──────┬─────┬─────┬─────┬─────┬─────┐                ┏━━━━━┓         ┌─────┬─────┬─────┬─────┬─────┬──────┐
            // │  x   │ > ' │  7  │  8  │  9  │ @ ^ │                ┃  ↑  ┃         │  &  │  (  │  )  │  {  │  }  │ BKSP │
            // ├──────┼─────┼─────┼─────┼─────┼─────┤          ┏━━━━━┃━━━━━┃━━━━━┓   ├─────┼─────┼─────┼─────┼─────┼──────┤
            // │ TAB  │  .  │  1  │  2  │  3  │  #  │          ┃  ←  ┃enter┃  →  ┃   │  =  │  -  │  +  │  /  │  *  │ ENT  │
            // ├──────┼─────┼─────┼─────┼─────┼─────┤ ┏━━━━┓   ┗━━━━━┃━━━━━┃━━━━━┛   ├─────┼─────┼─────┼─────┼─────┼──────┤
            // │      │ < " │  4  │  5  │  6  │ $ % │ ┃MUTE┃         ┃  ↓  ┃         │ ! \ │  _  │ , ` │ . ~ │ | ? │ Comp │
            // └──────┴─────┴─────┴───┬─┴───┬─┴───┬─┴─┺━┯━━┛         ┗━━━━━┛     ┌───┴─┬───┴─┬───┴─┬───┴─────┴─────┴──────┘
            //                        │     │Sft/0│     │                        │     │     │     │
            //                        └─────┴─────┴─────┘                        └─────┴─────┴─────┘

            bindings = <
&kp X      &ht_gt 0 0    &kp N7       &kp N8        &kp N9        &at_caret                        &kp UP                 &ht_amps 0 0 &ht_lpar 0 LPAR &ht_rpar 0 RPAR  &ht_lbrc 0 0 &kp RBRC    &kp BSPC
&kp TAB    &hrl_dot LGUI 0 &hrl LALT N1 &hrl LSHFT N2 &hrl LCTRL N3 &ht_hash 0 HASH      &kp LEFT  &kp ENTER  &kp RIGHT   &ht_equl 0 0 &hrr LCTRL MINUS &hrr LSHFT PLUS &hrr_slsh LALT 0 &hrr_star LGUI 0 &kp ENTER
LOCK_SYM   &ht_lt 0 0    &kp N4       &kp N5        &kp N6        &dlr_prc    &kp SPACE            &kp DOWN               &ht_excl 0 0 &kp UNDER     &ht_lbkt 0 LBKT    &kp RBKT     &ht_pipe 0 0 &kp RGUI
                                                  &trans  &mt LSHIFT N0 &trans                                   &trans  &trans  &trans
            >;
            sensor-bindings = <&inc_dec_kp C_VOLUME_UP C_VOLUME_DOWN>;
        };

        extend_layer {
            display-name = "EXTEND";

            // ┌──────┬─────┬─────┬─────┬─────┬─────┐                ┏━━━━━┓         ┌─────┬─────┬─────┬─────┬─────┬──────┐
            // │ ESC  │  Q  │  W  │  F  │  P  │  B  │                ┃  ↑  ┃         │  J  │  L  │  U  │  Y  │  ;  │ BKSP │
            // ├──────┼─────┼─────┼─────┼─────┼─────┤          ┏━━━━━┃━━━━━┃━━━━━┓   ├─────┼─────┼─────┼─────┼─────┼──────┤
            // │ TAB  │  A  │  R  │  S  │  T  │  G  │          ┃  ←  ┃enter┃  →  ┃   │  M  │  N  │  E  │  I  │  O  │ ENT  │
            // ├──────┼─────┼─────┼─────┼─────┼─────┤ ┏━━━━┓   ┗━━━━━┃━━━━━┃━━━━━┛   ├─────┼─────┼─────┼─────┼─────┼──────┤
            // │CTL/SP│  Z  │  X  │  C  │  D  │  V  │ ┃MUTE┃         ┃  ↓  ┃         │  K  │  H  │ , ` │ . ~ │  /  │Alt/' │
            // └──────┴─────┴─────┴───┬─┴───┬─┴───┬─┴─┺━┯━━┛         ┗━━━━━┛     ┌───┴─┬───┴─┬───┴─┬───┴─────┴─────┴──────┘
            //                        │ GUI │ SFT │ SPC │                        │ ENT │ SPC │ ALT │
            //                        └─────┴─────┴─────┘                        └─────┴─────┴─────┘

            bindings = <
&none       &kp ESC      &kp LC(W)    &kp LC(F)     &none         &kp INS                         &kp UP                 &kp HOME     &kp PGUP      &kp UP       &kp PGDN   &none       &kp DEL
&prv_wnd    &sk LGUI     &sk LALT     &sk LSHFT     &sk LCTRL     SELECT                &kp LEFT  &kp ENTER  &kp RIGHT   &kp END      &kp LEFT      &kp DOWN     &kp RIGHT  &kp BSPC    &kp ENTER
LOCK_EXT    &kp LC(Z)    &kp LC(X)    &kp LC(C)     &kp LC(V)     &kp LC(Y)  &kp SPACE            &kp DOWN               &kp LS(TAB)  &kp TAB       &none        &none      &kp DEL     &kp F17
                                                  &trans   &trans  &trans                                     &trans   &trans  &trans
            >;
            sensor-bindings = <&inc_dec_kp C_VOLUME_UP C_VOLUME_DOWN>;
        };

        nav_layer {
            display-name = "NAV";

            // ┌──────┬─────┬─────┬─────┬─────┬─────┐                ┏━━━━━┓         ┌─────┬─────┬─────┬─────┬─────┬──────┐
            // │      │Trsm │Ffox │Files│CodeL│Jopln│                ┃  ↑  ┃         │     │Alt-1│Alt-2│Alt-3│Alt-4│      │
            // ├──────┼─────┼─────┼─────┼─────┼─────┤          ┏━━━━━┃━━━━━┃━━━━━┓   ├─────┼─────┼─────┼─────┼─────┼──────┤
            // │ TAB  │Signl│Skype│Slack│Build│NTerm│          ┃  ←  ┃enter┃  →  ┃   │     │Wksp1│Wksp2│Wkrp3│Wksp4│C-PGUP│
            // ├──────┼─────┼─────┼─────┼─────┼─────┤ ┏━━━━┓   ┗━━━━━┃━━━━━┃━━━━━┛   ├─────┼─────┼─────┼─────┼─────┼──────┤
            // │      │ScrpB│     │TCopy│TPast│     │ ┃MUTE┃         ┃  ↓  ┃         │     │T Lft│T Rgt│Srch-│Srch+│C-PGDN│
            // └──────┴─────┴─────┴───┬─┴───┬─┴───┬─┴─┺━┯━━┛         ┗━━━━━┛     ┌───┴─┬───┴─┬───┴─┬───┴─────┴─────┴──────┘
            //                        │     │     │     │                        │Alt ←│     │Alt →│
            //                        └─────┴─────┴─────┘                        └─────┴─────┴─────┘

            bindings = <
&none       APP_TRSM     APP_FFOX     APP_FILE      APP_CODE      APP_JOPL                        &kp UP                 &none      &kp LA(N1)    &kp LA(N2)   &kp LA(N3) &kp LA(N4)  &none
&kp LA(TAB) APP_SIGN     APP_SKYP     APP_SLAC      APP_BTRM      APP_NTRM              &kp LEFT  &kp ENTER  &kp RIGHT   &none      &kp LG(F1)    &kp LG(F2)   &kp LG(F3) &kp LG(F4)  &kp LC(PGUP)
&none       APP_SCRP     &none        &kp LC(LS(C)) &kp LC(LS(V)) &none      &kp SPACE            &kp DOWN               &none      TAB_L         TAB_R        &srch_prv  &srch_nxt   &kp LC(PGDN)
                                                  &trans   &trans  &trans                                     &kp LA(LEFT) &trans  &kp LA(RIGHT)
            >;
            sensor-bindings = <&inc_dec_kp C_VOLUME_UP C_VOLUME_DOWN>;
        };

        func_layer {
            display-name = "FUNC";

            // ┌──────┬─────┬─────┬─────┬─────┬─────┐                ┏━━━━━┓         ┌─────┬─────┬─────┬─────┬─────┬──────┐
            // │RESET │     │ F7  │ F8  │ F9  │ F12 │                ┃  ↑  ┃         │BTrst│ BT1 │ BT2 │ BT3 │ BT4 │RESET │
            // ├──────┼─────┼─────┼─────┼─────┼─────┤          ┏━━━━━┃━━━━━┃━━━━━┓   ├─────┼─────┼─────┼─────┼─────┼──────┤
            // │ BOOT │     │ F1  │ F2  │ F3  │ F11 │          ┃  ←  ┃enter┃  →  ┃   │ RGB │Bri- │Bri+ │     │     │ BOOT │
            // ├──────┼─────┼─────┼─────┼─────┼─────┤ ┏━━━━┓   ┗━━━━━┃━━━━━┃━━━━━┛   ├─────┼─────┼─────┼─────┼─────┼──────┤
            // │      │     │ F4  │ F5  │ F6  │ F10 │ ┃MUTE┃         ┃  ↓  ┃         │SLEEP│     │     │     │     │      │
            // └──────┴─────┴─────┴───┬─┴───┬─┴───┬─┴─┺━┯━━┛         ┗━━━━━┛     ┌───┴─┬───┴─┬───┴─┬───┴─────┴─────┴──────┘
            //                        │     │     │     │                        │     │     │     │
            //                        └─────┴─────┴─────┘                        └─────┴─────┴─────┘

            bindings = <
&sys_reset  &none        &kp F7       &kp F8        &kp F9        &kp F12                       &kp UP                 &td_btclr       &bt BT_SEL 0 &bt BT_SEL 1 &bt BT_SEL 2 &bt BT_SEL 3 &sys_reset
&td_boot    &none        &kp F1       &kp F2        &kp F3        &kp F11             &kp LEFT  &kp ENTER  &kp RIGHT   &rgb_ug RGB_TOG &rgb_ug RGB_BRD &rgb_ug RGB_BRI        &none        &none        &td_boot
&none       &none        &kp F4       &kp F5        &kp F6        &kp F10  &kp SPACE            &kp DOWN               &kp C_SLEEP     &none        &none        &none        &none        &none
                                                  &trans   &trans  &trans                                     &trans   &trans  &trans
            >;
            sensor-bindings = <&inc_dec_kp C_VOLUME_UP C_VOLUME_DOWN>;
        };

        tmux_layer {
            display-name = "TMUX";

            // ┌──────┬─────┬─────┬─────┬─────┬─────┐                ┏━━━━━┓         ┌─────┬─────┬─────┬─────┬─────┬──────┐
            // │      │     │Lst W│     │     │     │                ┃  ↑  ┃         │     │Mv L │ Up  │Mv R │     │      │
            // ├──────┼─────┼─────┼─────┼─────┼─────┤          ┏━━━━━┃━━━━━┃━━━━━┓   ├─────┼─────┼─────┼─────┼─────┼──────┤
            // │      │     │Rload│     │     │     │          ┃  ←  ┃     ┃  →  ┃   │     │ Prv │ Dwn │ Nxt │     │      │
            // ├──────┼─────┼─────┼─────┼─────┼─────┤ ┏━━━━┓   ┗━━━━━┃━━━━━┃━━━━━┛   ├─────┼─────┼─────┼─────┼─────┼──────┤
            // │ Zoom │P Exp│     │Crt W│     │     │ ┃    ┃         ┃  ↓  ┃         │     │CopyM│     │     │     │      │
            // └──────┴─────┴─────┴───┬─┴───┬─┴───┬─┴─┺━┯━━┛         ┗━━━━━┛     ┌───┴─┬───┴─┬───┴─┬───┴─────┴─────┴──────┘
            //                        │     │     │     │                        │     │     │     │
            //                        └─────┴─────┴─────┘                        └─────┴─────┴─────┘

            bindings = <
&none       &none        &tm_lsw      &none         &none         &none                         &tm_cup                 &tm_j    &tm_l    &tm_u     &tm_y     &none     &none
&none       &kp LGUI     &tm_rcnf     &kp LALT      &kp LCTL      &none               &tm_clft  &none       &tm_crght   &tm_m    &tm_n    &tm_e     &tm_i     &none     &none
&trans      &tm_z        &none        &tm_cw        &none         &none  &none                  &tm_cdn                 &none    &tm_cm   &none     &none     &none     &none
                                                  &none    &trans    &none                                           &none   &none  &none
            >;
            sensor-bindings = <&inc_dec_kp C_VOLUME_UP C_VOLUME_DOWN>;
        };

        select1_layer {
            display-name = "SLCT1";

            // ┌──────┬─────┬─────┬─────┬─────┬─────┐                ┏━━━━━┓         ┌─────┬─────┬─────┬─────┬─────┬──────┐
            // │      │     │     │     │     │     │                ┃  ↑  ┃         │     │     │     │     │     │      │
            // ├──────┼─────┼─────┼─────┼─────┼─────┤          ┏━━━━━┃━━━━━┃━━━━━┓   ├─────┼─────┼─────┼─────┼─────┼──────┤
            // │      │     │     │     │     │     │          ┃  ←  ┃     ┃  →  ┃   │     │     │     │     │     │      │
            // ├──────┼─────┼─────┼─────┼─────┼─────┤ ┏━━━━┓   ┗━━━━━┃━━━━━┃━━━━━┛   ├─────┼─────┼─────┼─────┼─────┼──────┤
            // │      │     │     │     │     │     │ ┃    ┃         ┃  ↓  ┃         │     │     │     │     │     │      │
            // └──────┴─────┴─────┴───┬─┴───┬─┴───┬─┴─┺━┯━━┛         ┗━━━━━┛     ┌───┴─┬───┴─┬───┴─┬───┴─────┴─────┴──────┘
            //                        │     │     │     │                        │     │     │     │
            //                        └─────┴─────┴─────┘                        └─────┴─────┴─────┘

            bindings = <
&none       &none        &none        &none         &none         &none                         &none                   &none    &none    SEL1_U    &none     &none     &none
&none       &none        &none        &none         &none         &none               &none     &none       &none       &none    SEL1_L   SEL1_D    SEL1_R    &none     &none
&none       &none        &none        &none         &none         &none  &none                  &none                   &none    &none    &none     &none     &none     &none
                                                  &none   &none  &none                                           &none   &none  &none
            >;
            sensor-bindings = <&inc_dec_kp C_VOLUME_UP C_VOLUME_DOWN>;
        };

        select2_layer {
            display-name = "SLCT2";

            // ┌──────┬─────┬─────┬─────┬─────┬─────┐                ┏━━━━━┓         ┌─────┬─────┬─────┬─────┬─────┬──────┐
            // │      │     │     │     │     │     │                ┃  ↑  ┃         │     │     │     │     │     │      │
            // ├──────┼─────┼─────┼─────┼─────┼─────┤          ┏━━━━━┃━━━━━┃━━━━━┓   ├─────┼─────┼─────┼─────┼─────┼──────┤
            // │      │     │     │     │     │     │          ┃  ←  ┃     ┃  →  ┃   │     │     │     │     │     │      │
            // ├──────┼─────┼─────┼─────┼─────┼─────┤ ┏━━━━┓   ┗━━━━━┃━━━━━┃━━━━━┛   ├─────┼─────┼─────┼─────┼─────┼──────┤
            // │      │     │     │     │     │     │ ┃    ┃         ┃  ↓  ┃         │     │     │     │     │     │      │
            // └──────┴─────┴─────┴───┬─┴───┬─┴───┬─┴─┺━┯━━┛         ┗━━━━━┛     ┌───┴─┬───┴─┬───┴─┬───┴─────┴─────┴──────┘
            //                        │     │     │     │                        │     │     │     │
            //                        └─────┴─────┴─────┘                        └─────┴─────┴─────┘

            bindings = <
&none       &none        &none        &none         &none         &none                         &none                   &none    &none    &sel2_u   &none     &none     &none
&none       &none        &none        &none         &none         &none               &none     &none       &none       &none    &sel2_l  &sel2_d   &sel2_r   &none     &none
&none       &none        &none        &none         &none         &none  &none                  &none                   &none    &none    &none     &none     &none     &none
                                                  &none   &none  &none                                           &none   &none  &none
            >;
            sensor-bindings = <&inc_dec_kp C_VOLUME_UP C_VOLUME_DOWN>;
        };
/*
        none_layer {
            display-name = "NONE";

            // ┌──────┬─────┬─────┬─────┬─────┬─────┐                ┏━━━━━┓         ┌─────┬─────┬─────┬─────┬─────┬──────┐
            // │      │     │     │     │     │     │                ┃  ↑  ┃         │     │     │     │     │     │      │
            // ├──────┼─────┼─────┼─────┼─────┼─────┤          ┏━━━━━┃━━━━━┃━━━━━┓   ├─────┼─────┼─────┼─────┼─────┼──────┤
            // │      │     │     │     │     │     │          ┃  ←  ┃     ┃  →  ┃   │     │     │     │     │     │      │
            // ├──────┼─────┼─────┼─────┼─────┼─────┤ ┏━━━━┓   ┗━━━━━┃━━━━━┃━━━━━┛   ├─────┼─────┼─────┼─────┼─────┼──────┤
            // │      │     │     │     │     │     │ ┃    ┃         ┃  ↓  ┃         │     │     │     │     │     │      │
            // └──────┴─────┴─────┴───┬─┴───┬─┴───┬─┴─┺━┯━━┛         ┗━━━━━┛     ┌───┴─┬───┴─┬───┴─┬───┴─────┴─────┴──────┘
            //                        │     │     │     │                        │     │     │     │
            //                        └─────┴─────┴─────┘                        └─────┴─────┴─────┘

            bindings = <
&none       &none        &none        &none         &none         &none                         &none                   &none    &none    &none     &none     &none     &none
&none       &none        &none        &none         &none         &none               &none     &none       &none       &none    &none    &none     &none     &none     &none
&none       &none        &none        &none         &none         &none  &none                  &none                   &none    &none    &none     &none     &none     &none
                                                  &none   &none  &none                                           &none   &none  &none
            >;
            sensor-bindings = <&inc_dec_kp C_VOLUME_UP C_VOLUME_DOWN>;
        };
*/
    };
};
